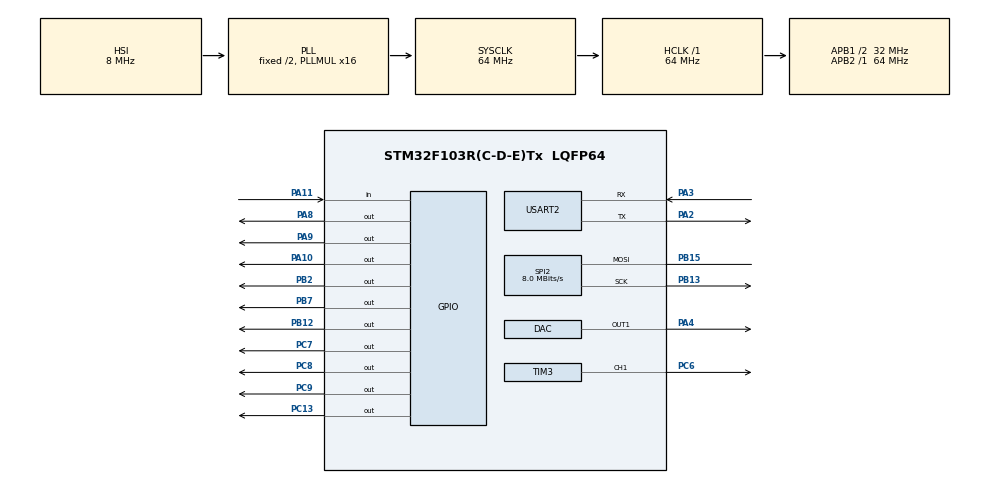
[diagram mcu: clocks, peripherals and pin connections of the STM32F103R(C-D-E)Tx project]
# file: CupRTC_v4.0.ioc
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Dma.Request0=TIM3_CH1/TRIG
Dma.TIM3_CH1/TRIG.0.Direction=DMA_MEMORY_TO_PERIPH
Dma.TIM3_CH1/TRIG.0.Instance=DMA1_Channel6
Dma.TIM3_CH1/TRIG.0.MemDataAlignment=DMA_MDATAALIGN_BYTE
Dma.TIM3_CH1/TRIG.0.MemInc=DMA_MINC_ENABLE
Dma.TIM3_CH1/TRIG.0.Mode=DMA_NORMAL
Dma.TIM3_CH1/TRIG.0.PeriphDataAlignment=DMA_PDATAALIGN_WORD
Dma.TIM3_CH1/TRIG.0.PeriphInc=DMA_PINC_DISABLE
Dma.TIM3_CH1/TRIG.0.Priority=DMA_PRIORITY_VERY_HIGH
FREERTOS.HEAP_NUMBER=3
FREERTOS.MEMORY_ALLOCATION=0
FREERTOS.Tasks01=MainTask,-3,64,StartMainTask,Default,NULL,Dynamic,NULL,NULL
FREERTOS.configMINIMAL_STACK_SIZE=64
FREERTOS.configTOTAL_HEAP_SIZE=8192
Mcu.Family=STM32F1
Mcu.Name=STM32F103R(C-D-E)Tx
Mcu.Package=LQFP64
NVIC.DMA1_Channel6_IRQn=true\:5\:0\:false\:false\:true\:true\:false
NVIC.PriorityGroup=NVIC_PRIORITYGROUP_4
NVIC.TIM2_IRQn=true\:0\:0\:false\:false\:true\:false\:false
NVIC.TIM6_IRQn=true\:5\:0\:false\:false\:true\:true\:true
NVIC.TimeBase=TIM2_IRQn
NVIC.TimeBaseIP=TIM2
PA10.Signal=GPIO_Output
PA11.GPIO_PuPd=GPIO_NOPULL
PA11.Signal=GPIO_Input
PA13.Mode=Serial_Wire
PA13.Signal=SYS_JTMS-SWDIO
PA14.Mode=Serial_Wire
PA14.Signal=SYS_JTCK-SWCLK
PA2.Mode=Asynchronous
PA2.Signal=USART2_TX
PA3.Mode=Asynchronous
PA3.Signal=USART2_RX
PA4.Signal=COMP_DAC1_group
PA8.Signal=GPIO_Output
PA9.Signal=GPIO_Output
PB12.Signal=GPIO_Output
PB13.Mode=Simplex_Bidirectional_Master
PB13.Signal=SPI2_SCK
PB15.Mode=Simplex_Bidirectional_Master
PB15.Signal=SPI2_MOSI
PB2.GPIO_Speed=GPIO_SPEED_FREQ_LOW
PB2.Signal=GPIO_Output
PB7.Signal=GPIO_Output
PC13-TAMPER-RTC.Signal=GPIO_Output
PC6.Signal=S_TIM3_CH1
PC7.Signal=GPIO_Output
PC8.Signal=GPIO_Output
PC9.Signal=GPIO_Output
PD0-OSC_IN.Mode=HSE-External-Oscillator
PD0-OSC_IN.Signal=RCC_OSC_IN
PD1-OSC_OUT.Mode=HSE-External-Oscillator
PD1-OSC_OUT.Signal=RCC_OSC_OUT
ProjectManager.HeapSize=0x2000
ProjectManager.StackSize=0x4000
ProjectManager.TargetToolchain=SW4STM32
RCC.AHBFreq_Value=64000000
RCC.APB1CLKDivider=RCC_HCLK_DIV2
RCC.APB1Freq_Value=32000000
RCC.APB1TimFreq_Value=64000000
RCC.APB2Freq_Value=64000000
RCC.APB2TimFreq_Value=64000000
RCC.HCLKFreq_Value=64000000
RCC.HSEDivPLL=RCC_HSE_PREDIV_DIV2
RCC.PLLMUL=RCC_PLL_MUL16
RCC.SYSCLKFreq_VALUE=64000000
RCC.SYSCLKSource=RCC_SYSCLKSOURCE_PLLCLK
RCC.USBFreq_Value=64000000
SH.COMP_DAC1_group.0=DAC_OUT1,DAC_OUT1
SH.S_TIM3_CH1.0=TIM3_CH1,PWM Generation1 CH1
SPI2.BaudRatePrescaler=SPI_BAUDRATEPRESCALER_4
SPI2.CalculateBaudRate=8.0 MBits/s
SPI2.DataSize=SPI_DATASIZE_16BIT
SPI2.Direction=SPI_DIRECTION_1LINE
SPI2.Mode=SPI_MODE_MASTER
SPI2.VirtualType=VM_MASTER
TIM3.Channel-PWM\ Generation1\ CH1=TIM_CHANNEL_1
TIM3.OCFastMode_PWM-PWM\ Generation1\ CH1=TIM_OCFAST_ENABLE
TIM3.Period=79
TIM6.Period=7999
USART2.VirtualMode=VM_ASYNC
VP_FREERTOS_VS_ENABLE.Mode=Enabled
VP_SYS_VS_tim2.Mode=TIM2
VP_TIM3_VS_ClockSourceINT.Mode=Internal
VP_TIM6_VS_ClockSourceINT.Mode=Enable_Timer
board=CupRTC_v4.0

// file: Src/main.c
/**
  ******************************************************************************
  * File Name          : main.c
  * Description        : Main program body
  ******************************************************************************
  * This notice applies to any and all portions of this file
  * that are not between comment pairs USER CODE BEGIN and
  * USER CODE END. Other portions of this file, whether
  * inserted by the user or by software development tools
  * are owned by their respective copyright owners.
  *
  * Copyright (c) 2018 STMicroelectronics International N.V.
  * All rights reserved.
  *
  * Redistribution and use in source and binary forms, with or without
  * modification, are permitted, provided that the following conditions are met:
  *
  * 1. Redistribution of source code must retain the above copyright notice,
  *    this list of conditions and the following disclaimer.
  * 2. Redistributions in binary form must reproduce the above copyright notice,
  *    this list of conditions and the following disclaimer in the documentation
  *    and/or other materials provided with the distribution.
  * 3. Neither the name of STMicroelectronics nor the names of other
  *    contributors to this software may be used to endorse or promote products
  *    derived from this software without specific written permission.
  * 4. This software, including modifications and/or derivative works of this
  *    software, must execute solely and exclusively on microcontroller or
  *    microprocessor devices manufactured by or for STMicroelectronics.
  * 5. Redistribution and use of this software other than as permitted under
  *    this license is void and will automatically terminate your rights under
  *    this license.
  *
  * THIS SOFTWARE IS PROVIDED BY STMICROELECTRONICS AND CONTRIBUTORS "AS IS"
  * AND ANY EXPRESS, IMPLIED OR STATUTORY WARRANTIES, INCLUDING, BUT NOT
  * LIMITED TO, THE IMPLIED WARRANTIES OF MERCHANTABILITY, FITNESS FOR A
  * PARTICULAR PURPOSE AND NON-INFRINGEMENT OF THIRD PARTY INTELLECTUAL PROPERTY
  * RIGHTS ARE DISCLAIMED TO THE FULLEST EXTENT PERMITTED BY LAW. IN NO EVENT
  * SHALL STMICROELECTRONICS OR CONTRIBUTORS BE LIABLE FOR ANY DIRECT, INDIRECT,
  * INCIDENTAL, SPECIAL, EXEMPLARY, OR CONSEQUENTIAL DAMAGES (INCLUDING, BUT NOT
  * LIMITED TO, PROCUREMENT OF SUBSTITUTE GOODS OR SERVICES; LOSS OF USE, DATA,
  * OR PROFITS; OR BUSINESS INTERRUPTION) HOWEVER CAUSED AND ON ANY THEORY OF
  * LIABILITY, WHETHER IN CONTRACT, STRICT LIABILITY, OR TORT (INCLUDING
  * NEGLIGENCE OR OTHERWISE) ARISING IN ANY WAY OUT OF THE USE OF THIS SOFTWARE,
  * EVEN IF ADVISED OF THE POSSIBILITY OF SUCH DAMAGE.
  *
  ******************************************************************************
  */

#include "main.h"
#include "stm32f1xx_hal.h"
#include "cmsis_os.h"
#include "dac.h"
#include "dma.h"
#include "spi.h"
#include "tim.h"
#include "usart.h"
#include "gpio.h"

/* USER CODE BEGIN Includes */
#include "defines.h"

#ifdef WS2812B_ENABLE
#include "ws2812b.h"
#endif

#ifdef LCD_ENABLE
#include "tm_stm32_hd44780.h"
#endif

#ifdef AUDIO_ENABLE
#include "audio.h"
#endif

#ifdef LED_MATRIX_ENABLE
#include "max7219.h"
#endif

/* USER CODE END Includes */

/* USER CODE BEGIN PV */
/* Private variables ---------------------------------------------------------*/
/*----------------------------------------------------------------------------*/
/*--------------------------------STATUS--------------------------------------*/
/*----------------------------------------------------------------------------*/
// Режим работы кубка. 0-нормальная работа, 1-демо режим, 2-режим обновления
uint8_t systemMode;

// Здесь хранится состояние кнопки
uint8_t playSound = 0;

/* USER CODE END PV */

void SystemClock_Config(void);
void MX_FREERTOS_Init(void);

/* USER CODE BEGIN PFP */
/* Private function prototypes -----------------------------------------------*/

/* USER CODE END PFP */

int main(void)
{

  /* MCU Configuration----------------------------------------------------------*/

  /* Reset of all peripherals, Initializes the Flash interface and the Systick. */
  HAL_Init();

  /* Configure the system clock */
  SystemClock_Config();

  /* Initialize all configured peripherals */
  MX_GPIO_Init();
  MX_DMA_Init();
  MX_DAC_Init();
  MX_TIM3_Init();
  MX_SPI2_Init();
  MX_USART2_UART_Init();
  MX_TIM6_Init();

  /* USER CODE BEGIN 2 */
	// Проводим инициализацию подключенных устройств
#ifdef LED_MATRIX_ENABLE
	// Инициализация led матрицы.
	// На вход подается значение интенсивности
	MAX729_Init(0x05);
#endif

#ifdef LCD_ENABLE
	TM_HD44780_Init(LENGTH_OF_LINE_LCD, NUMBER_OF_LINES_LCD);
#endif

#ifdef AUDIO_ENABLE
	SpeexInit();
#endif

	// Определяем режим работы
	// Если кнопка нажата, то включаем режим обновленяи
	if(!HAL_GPIO_ReadPin(BUTTON_GPIO_PORT, BUTTON_GPIO_PIN))
	{
		HAL_Delay(3000);
		while(!HAL_GPIO_ReadPin(BUTTON_GPIO_PORT, BUTTON_GPIO_PIN)) HAL_Delay(100);
		systemMode = SYSTEM_MODE_UPDATE;
	}
	// Если кубок не прошит, то запускаем демо режим
	else if((*(uint32_t*)START_FLASH_PAGE == 0xFFFFFFFF) || (*(uint32_t*)START_FLASH_PAGE == 0))
	{
		systemMode = SYSTEM_MODE_DEMO;
	}
	// В противном случае включаем нормальный режим работы
	else
		systemMode = SYSTEM_MODE_NORMAL;

  /* USER CODE END 2 */

  /* Call init function for freertos objects (in freertos.c) */
  MX_FREERTOS_Init();

  /* Start scheduler */
  osKernelStart();

  /* We should never get here as control is now taken by the scheduler */

  /* Infinite loop */
	while (1)
	{

	}

}

/** System Clock Configuration
*/
void SystemClock_Config(void)
{

  RCC_OscInitTypeDef RCC_OscInitStruct;
  RCC_ClkInitTypeDef RCC_ClkInitStruct;

    /**Initializes the CPU, AHB and APB busses clocks
    */
  RCC_OscInitStruct.OscillatorType = RCC_OSCILLATORTYPE_HSI;
  RCC_OscInitStruct.HSIState = RCC_HSI_ON;
  RCC_OscInitStruct.HSICalibrationValue = 16;
  RCC_OscInitStruct.PLL.PLLState = RCC_PLL_ON;
  RCC_OscInitStruct.PLL.PLLSource = RCC_PLLSOURCE_HSI_DIV2;
  RCC_OscInitStruct.PLL.PLLMUL = RCC_PLL_MUL16;
  if (HAL_RCC_OscConfig(&RCC_OscInitStruct) != HAL_OK)
  {
    _Error_Handler(__FILE__, __LINE__);
  }

    /**Initializes the CPU, AHB and APB busses clocks
    */
  RCC_ClkInitStruct.ClockType = RCC_CLOCKTYPE_HCLK|RCC_CLOCKTYPE_SYSCLK
                              |RCC_CLOCKTYPE_PCLK1|RCC_CLOCKTYPE_PCLK2;
  RCC_ClkInitStruct.SYSCLKSource = RCC_SYSCLKSOURCE_PLLCLK;
  RCC_ClkInitStruct.AHBCLKDivider = RCC_SYSCLK_DIV1;
  RCC_ClkInitStruct.APB1CLKDivider = RCC_HCLK_DIV2;
  RCC_ClkInitStruct.APB2CLKDivider = RCC_HCLK_DIV1;

  if (HAL_RCC_ClockConfig(&RCC_ClkInitStruct, FLASH_LATENCY_2) != HAL_OK)
  {
    _Error_Handler(__FILE__, __LINE__);
  }

    /**Configure the Systick interrupt time
    */
  HAL_SYSTICK_Config(HAL_RCC_GetHCLKFreq()/1000);

    /**Configure the Systick
    */
  HAL_SYSTICK_CLKSourceConfig(SYSTICK_CLKSOURCE_HCLK);

  /* SysTick_IRQn interrupt configuration */
  HAL_NVIC_SetPriority(SysTick_IRQn, 15, 0);
}

void HAL_TIM_PeriodElapsedCallback(TIM_HandleTypeDef *htim)
{
  if (htim->Instance == TIM2) {
    HAL_IncTick();
  }
}

void _Error_Handler(char * file, int line)
{
	while(1)
	{
	}
}

/************************ (C) COPYRIGHT STMicroelectronics *****END OF FILE****/

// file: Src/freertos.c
/**
  ******************************************************************************
  * File Name          : freertos.c
  * Description        : Code for freertos applications
  ******************************************************************************
  * This notice applies to any and all portions of this file
  * that are not between comment pairs USER CODE BEGIN and
  * USER CODE END. Other portions of this file, whether
  * inserted by the user or by software development tools
  * are owned by their respective copyright owners.
  *
  * Copyright (c) 2018 STMicroelectronics International N.V.
  * All rights reserved.
  *
  * Redistribution and use in source and binary forms, with or without
  * modification, are permitted, provided that the following conditions are met:
  *
  * 1. Redistribution of source code must retain the above copyright notice,
  *    this list of conditions and the following disclaimer.
  * 2. Redistributions in binary form must reproduce the above copyright notice,
  *    this list of conditions and the following disclaimer in the documentation
  *    and/or other materials provided with the distribution.
  * 3. Neither the name of STMicroelectronics nor the names of other
  *    contributors to this software may be used to endorse or promote products
  *    derived from this software without specific written permission.
  * 4. This software, including modifications and/or derivative works of this
  *    software, must execute solely and exclusively on microcontroller or
  *    microprocessor devices manufactured by or for STMicroelectronics.
  * 5. Redistribution and use of this software other than as permitted under
  *    this license is void and will automatically terminate your rights under
  *    this license.
  *
  * THIS SOFTWARE IS PROVIDED BY STMICROELECTRONICS AND CONTRIBUTORS "AS IS"
  * AND ANY EXPRESS, IMPLIED OR STATUTORY WARRANTIES, INCLUDING, BUT NOT
  * LIMITED TO, THE IMPLIED WARRANTIES OF MERCHANTABILITY, FITNESS FOR A
  * PARTICULAR PURPOSE AND NON-INFRINGEMENT OF THIRD PARTY INTELLECTUAL PROPERTY
  * RIGHTS ARE DISCLAIMED TO THE FULLEST EXTENT PERMITTED BY LAW. IN NO EVENT
  * SHALL STMICROELECTRONICS OR CONTRIBUTORS BE LIABLE FOR ANY DIRECT, INDIRECT,
  * INCIDENTAL, SPECIAL, EXEMPLARY, OR CONSEQUENTIAL DAMAGES (INCLUDING, BUT NOT
  * LIMITED TO, PROCUREMENT OF SUBSTITUTE GOODS OR SERVICES; LOSS OF USE, DATA,
  * OR PROFITS; OR BUSINESS INTERRUPTION) HOWEVER CAUSED AND ON ANY THEORY OF
  * LIABILITY, WHETHER IN CONTRACT, STRICT LIABILITY, OR TORT (INCLUDING
  * NEGLIGENCE OR OTHERWISE) ARISING IN ANY WAY OUT OF THE USE OF THIS SOFTWARE,
  * EVEN IF ADVISED OF THE POSSIBILITY OF SUCH DAMAGE.
  *
  ******************************************************************************
  */

#include "FreeRTOS.h"
#include "task.h"
#include "cmsis_os.h"

/* USER CODE BEGIN Includes */
#include "defines.h"

#ifdef WS2812B_ENABLE
#include "ws2812b.h"
#endif

#ifdef LCD_ENABLE
#include "tm_stm32_hd44780.h"
#endif

#ifdef AUDIO_ENABLE
#include "audio.h"
#include "spx.h"
#endif

#ifdef LED_MATRIX_ENABLE
#include "max7219.h"
#endif

#include "otherFunctions.h"

/* USER CODE END Includes */

osThreadId MainTaskHandle;

/* USER CODE BEGIN Variables */
osThreadId ButtonHandle;
osThreadId LEDmatrixHandle;
osThreadId AudioMessageHandle;
osThreadId RGBws2812bHandle;
osThreadId USARTHandle;

extern UART_HandleTypeDef huart2;
extern DAC_HandleTypeDef hdac;
extern TIM_HandleTypeDef htim6;

/*----------------------------------------------------------------------------*/
/*--------------------------------STATUS--------------------------------------*/
/*----------------------------------------------------------------------------*/
// Здесь хранится состояние кнопки
extern uint8_t playSound;

extern uint8_t eightbit[766][3];

/*----------------------------------------------------------------------------*/
/*--------------------------------FLASH---------------------------------------*/
/*----------------------------------------------------------------------------*/
// Здесь храниться адрес ячейки памяти с которой необходимо начинать запись/чтение
uint32_t addressDes = START_FLASH_PAGE;
// Размер(в байтах) всех полученных данных
uint16_t allDataSize;

// Режим работы кубка. 0-нормальная работа, 1-демо режим, 2-режим обновления
extern uint8_t systemMode;

// Массив, хранящий принимаемые данные до парсинга
uint8_t dataBuffer[60];

/* USER CODE END Variables */

void StartMainTask(void const * argument);

void MX_FREERTOS_Init(void); /* (MISRA C 2004 rule 8.1) */

/* USER CODE BEGIN FunctionPrototypes */
void StartButtonTask(void const * argument);
void StartLEDmatrixTask(void const * argument);
void StartAudioMessageTask(void const * argument);
void StartRGBws2812bTask(void const * argument);
void StartUSARTTask(void const * argument);
/* USER CODE END FunctionPrototypes */

/* Hook prototypes */

/* Init FreeRTOS */

void MX_FREERTOS_Init(void) {

  /* Create the thread(s) */
  /* definition and creation of MainTask */
  osThreadDef(MainTask, StartMainTask, osPriorityIdle, 0, 64);
  MainTaskHandle = osThreadCreate(osThread(MainTask), NULL);

  /* USER CODE BEGIN RTOS_THREADS */
	/* add threads, ... */
	if(systemMode == SYSTEM_MODE_UPDATE)
	{
		/* definition and creation of USART */
		osThreadDef(USART, StartUSARTTask, osPriorityIdle, 0, 256);
		USARTHandle = osThreadCreate(osThread(USART), NULL);
	}
	else
	{
		osThreadDef(Button, StartButtonTask, osPriorityIdle, 0, 256);
		ButtonHandle = osThreadCreate(osThread(Button), NULL);

#ifdef	LED_ENABLE
		/* definition and creation of LEDmatrix */
		osThreadDef(LEDmatrix, StartLEDmatrixTask, osPriorityIdle, 0, 256);
		LEDmatrixHandle = osThreadCreate(osThread(LEDmatrix), NULL);
#endif
#ifdef	AUDIO_ENABLE
		/* definition and creation of AudioMessage */
		osThreadDef(AudioMessage, StartAudioMessageTask, osPriorityIdle, 0, 256);
		AudioMessageHandle = osThreadCreate(osThread(AudioMessage), NULL);
#endif
#ifdef	WS2812B_ENABLE
		/* definition and creation of RGBws2812b */
		osThreadDef(RGBws2812b, StartRGBws2812bTask, osPriorityIdle, 0, 256);
		RGBws2812bHandle = osThreadCreate(osThread(RGBws2812b), NULL);
#endif
	}
  /* USER CODE END RTOS_THREADS */

}

/* StartMainTask function */
void StartMainTask(void const * argument)
{

  for(;;)
  {
    osDelay(1);
  }
}

/* USER CODE BEGIN Application */

/* StartButtonTask function */
void StartButtonTask(void const * argument)
{

	/* USER CODE BEGIN 5 */
	/* Infinite loop */
	// Создаем счётчик для фиксации времени нажатия кнопки
	uint8_t pressTime;

#ifdef LCD_ENABLE
	// Чистим экран
	TM_HD44780_Clear();
	// Если включен демо-режим, то показываем демо-сообщение,
	// если нет, то выводим текст, записанный в память
	if(systemMode)
	{
		TM_HD44780_Puts(0, 0, DEMO_TEXT_1, LEN_DEMO_TEXT_1);
		TM_HD44780_Puts(0, 1, DEMO_TEXT_2, LEN_DEMO_TEXT_2);
	}
	else
	{
		TM_HD44780_Puts(0, 0, (void *)TEXT2_address, *(uint32_t*)SIZE_TEXT2_address);
		TM_HD44780_Puts(0, 1, (void *)TEXT1_address, *(uint32_t*)SIZE_TEXT1_address);
	}
#endif

	for(;;)
	{
		if(AntiContactBounce(BUTTON_GPIO_PORT, BUTTON_GPIO_PIN))
		{
			pressTime = 1;
			// Крутим счётчик до тех пор пока зажата кнопка или
			// значение счётчика меньше 255
			while((!HAL_GPIO_ReadPin(BUTTON_GPIO_PORT, BUTTON_GPIO_PIN))&&(pressTime != 255))
			{
				osDelay(100);
				pressTime++;
			}
			// Если было одно нажатие, то включай запись
			// и зависай в цикле
			if((pressTime <= 30)&&(pressTime >= 1))
			{
				playSound = 1;
				osDelay(1000);
#ifdef AUDIO_ENABLE
				vTaskResume(AudioMessageHandle);
#endif
				// Обнуляем счётчик нажатия кнопки
				pressTime = 0;
			}
		}
		osDelay(100);
	}
	/* USER CODE END 5 */
}

/* StartLEDmatrixTask function */
void StartLEDmatrixTask(void const * argument)
{
	/* USER CODE BEGIN StartLEDmatrixTask */

#ifndef LED_MATRIX_ENABLE
	vTaskDelete(NULL);
#endif
	/* Infinite loop */
	for(;;)
	{
#ifdef LED_MATRIX_ENABLE
		// Чистка LED матрицы от изображений
		MAX729_Clean();
		// Если включен демо режим, то крутим демо-анимацию
		// Если демо-режим выключен, то показываем место+анимация
		if(systemMode == SYSTEM_MODE_DEMO)
		{
			while(1)
			{
				// Выводим анимацию на LED matrix
				for(uint8_t i = 1; i < 4; i++)
				{
					DrawAll(i);
				}
				osDelay(1);
			}
		}
		else
		{
			// Выводим место пока не будет нажата кнопка
			switch (*(uint32_t*)START_FLASH_PAGE)
			{
			case 1:
				while(DrawAll(1)) osDelay(1);
				break;
			case 2:
				while(DrawAll(2)) osDelay(1);
				break;
			case 3:
				while(DrawAll(3)) osDelay(1);
				break;
			default:
				Draw((uint8_t*)symbols, 0);  // смайлик
				break;
				// Пока сотояние кнопки не изменится на "выкл"
				// крутим особую анимацию
				while(playSound) Draw((uint8_t*)symbols, 0);
			}
		}
#endif
		osDelay(1);
	}
	/* USER CODE END StartLEDmatrixTask */
}

/* StartAudioMessageTask function */
void StartAudioMessageTask(void const * argument)
{
	/* USER CODE BEGIN StartAudioMessageTask */
#ifndef AUDIO_ENABLE
	vTaskDelete(NULL);
#endif
	/* Infinite loop */
	for(;;)
	{
		if(!playSound)
			vTaskSuspend(NULL);
#ifdef AUDIO_ENABLE

		// Включаем прерывания по таймеру
		HAL_TIM_Base_Start_IT(&htim6);
		// Включаем ЦАП
		HAL_DAC_Start(&hdac, DAC_CHANNEL_1);

		// Если включен демо-режим, то включаем демо-запись
		if(systemMode == SYSTEM_MODE_DEMO)
			PlayMessage(&spx_voice2[0], spx_frames2);
		// В противном случае проигрываем то, что мы записали в память
		else
			PlayMessage((void*)SPEEX_address, *(uint32_t*)BLOCK_address);

		// Выключаем прерывания по таймеру
		HAL_TIM_Base_Stop_IT(&htim6);
		// Выключаем ЦАП
		HAL_DAC_Stop(&hdac, DAC_CHANNEL_1);
		//vTaskResume(RGBws2812bHandle);

		playSound = 0;
#endif
		osDelay(1);
	}
	/* USER CODE END StartAudioMessageTask */
}

/* StartRGBws2812bTask function */
void StartRGBws2812bTask(void const * argument)
{
	/* USER CODE BEGIN StartRGBws2812bTask */
#ifndef WS2812B_ENABLE
	vTaskDelete(NULL);
#endif

	/* Infinite loop */
	for(;;)
	{
#ifdef WS2812B_ENABLE
		/* first cycle through the colors on 2 LEDs chained together
		 * last LED in the chain will receive first sent triplet
		 * --> last LED in the chain will 'lead'
		 */
		//		for (uint16_t i = 0; i + QUANTITY_OF_GROUPS < 766; i ++)//+= QUANTITY_OF_GROUPS)
		//		{
		//			WS2812_send_group_short(rainbow[i][0], QUANTITY_OF_GROUPS);
		//			osDelay(1000);
		//		}
		//		WS2812_send_group(0, 0, 0, 0, 0, 0, 0, 0, 0, 0, 0, 0);
		//		WS2812_send_group(0, 0, 0, 0, 0, 0, 0, 0, 0, 0, 0, 0);
		for (uint16_t i = 0; i+50 < 765; i++)
		{
			if(playSound)
			{
				WS2812_send_group(0, 0, 0, 0, 0, 0, 0, 0, 0, 0, 0, 0);
				while(playSound)
					osDelay(100);
			}
			else
			{
				WS2812_send_group(eightbit[i][0], eightbit[i][1], eightbit[i][2],
						eightbit[i+50][0], eightbit[i+50][1], eightbit[i+50][2],
						eightbit[i][0], eightbit[i][1], eightbit[i][2],
						eightbit[i+50][0], eightbit[i+50][1], eightbit[i+50][2]);
				osDelay(1000);
			}
			//if(buttonStatus) vTaskSuspen(RGBws2812bHandle);
		}
		//			for (uint16_t i = 0; i < 766; i += 1)
		//			{
		//				WS2812_send_noPTR(eightbit[i][0], eightbit[i][1], eightbit[i][2], QUANTITY_OF_LED);//eightbit[i][1], eightbit[i][2], QUANTITY_OF_LED);
		//				osDelay(300);
		//			}
		//		osDelay(5000);
		//		for (uint16_t i = 0; i < 766; i += 1)
		//		{
		//			WS2812_send(eightbit[i][0], eightbit[i][1], eightbit[i][2], QUANTITY_OF_LED);//eightbit[i][1], eightbit[i][2], QUANTITY_OF_LED);
		//			osDelay(300);
		//		}
		//osDelay(2500);
#endif
		osDelay(100);
	}
	/* USER CODE END StartRGBws2812bTask */
}

/* StartUSARTTask function */
void StartUSARTTask(void const * argument)
{
	/* USER CODE BEGIN StartUSARTTask */
	/* Infinite loop */
	// Счетчик, показывающий сколько мы уже приняли байт в "data_buffer"
	uint8_t numBuff;

	// Ответ о состоянии принятого сообщения
	uint8_t answer;

	// Здесь будут храниться данные после парсинга
	RecData dataBufferPars;

	uint8_t *ptrBuff;

#ifdef LCD_ENABLE
	uint8_t updateLine;
	// Чистим экран
	TM_HD44780_Clear();
	updateLine = 0;
#endif

	for(;;)
	{
		// Крутимся в цикле пока не закончится обновление
		// Обнуляем счётчик полученных данных
		allDataSize = 0;
		// Сообщаем, что мы готовы к получению первого блока данных
		answer = 's';
		HAL_UART_Transmit(&huart2, (uint8_t*)&answer, 1, 0xFFFF);
		while(1)
		{
			// Крутимся в цикле пока не встретим символ окончания сообщения
			// или пока не будет переполнения буфера данных "data_buffer",
			// или пока не перестанут приходить данные

			// Присваеваем указателю адрес начала буфера
			ptrBuff = dataBuffer;
			// Обнуляем счётчик байтов в буфере "data_buffer"
			numBuff = 0;
			// По умолчанию ответное сообщение означает успешную передачу
			answer = 'g';
			// Принимаем данные по байту и забрасываем в наш буфер
			while(numBuff < SIZE_BUFF)
			{
				// Приём
				HAL_UART_Receive(&huart2, ptrBuff, 1, 0xFFFF);
				// Увеличиваем счётчик принятых байтов
				numBuff++;
				// Если встретили символ окончания сообщения, то выходим из цикла
				if(*ptrBuff == '>')
					break;
				// Двигаем указатель на следующий элемент массива
				ptrBuff++;
			}
			// Если переданный пакет байтов состоит лишь из <0>, то это означает конец
			// передачи. Выходим из цикла приёма пакетов
			if((*ptrBuff == '>')&&(*(ptrBuff-1) == '0')&&(*(ptrBuff-2) == '<'))
			{
				break;
			}
			// Парсим полученные данные
			dataBufferPars = parsing((char*)dataBuffer, numBuff);

#ifdef LCD_ENABLE
			// Полоска закрузки на LCD
			// Если полоска достигла окончания строки дисплея, то...
			if(!((updateLine + 1) % 17))
			{
				// Чистим экран
				TM_HD44780_Clear();
				// Обнуляем счётчик полоски
				updateLine = 0;
				// Выводим сообщение об обновлении, так как оно стёрлось
				TM_HD44780_Puts(0, 0, UPDATE_TEXT, LEN_UPDATE_TEXT);
			}
			// Выводим элемент полоски загрузки на LCD
			TM_HD44780_PutCustom(updateLine, 1, 255);
			// Увеличиваем счётчик полоски загрузки
			updateLine++;
#endif

			// Если не возникло ошибок при парсинге, то сохраняем
			// полученные данные в памяти МК
			if(dataBufferPars.command != 6)
			{
				// Сохраняем данные в памяти
				answer = SU_FLASH_Save_User_Data(dataBufferPars, numBuff);
			}
			else
			{
				// Если возникли проблемы при записи, то переменной,
				// в которой хранится ответ приложению, присваеваем
				// символ ошибки
				answer = 'f';
			}
			// Отправляем результат работы
			HAL_UART_Transmit(&huart2, (uint8_t*)&answer, 1, 0xFFFF);
		}
		osDelay(100);
		vTaskDelete(NULL);
	}
	/* USER CODE END StartUSARTTask */
}

/* USER CODE END Application */

/************************ (C) COPYRIGHT STMicroelectronics *****END OF FILE****/
